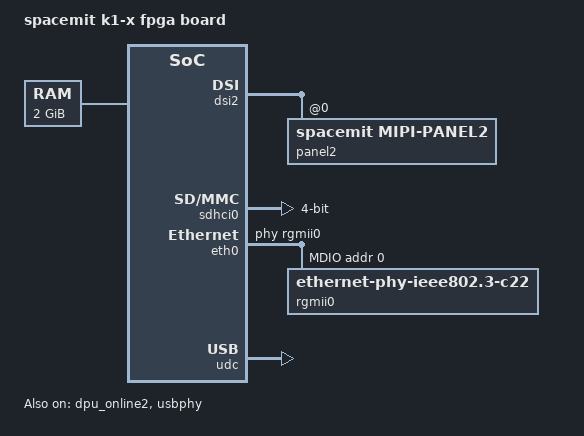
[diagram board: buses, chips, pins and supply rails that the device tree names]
// SPDX-License-Identifier: (GPL-2.0 OR MIT)
/* Copyright (c) 2023 Spacemit, Inc */

/dts-v1/;

#include "k1-x.dtsi"
#include "lcd/lcd_gc9503v_mipi.dtsi"
/ {
	model = "spacemit k1-x fpga board";

	cpus: cpus {
		#address-cells = <1>;
		#size-cells = <0>;
		timebase-frequency = <10000000>;

		cpu_0: cpu@0 {
			cpu-ai = "true";
		};

		cpu_1: cpu@1 {
			cpu-ai = "true";
		};

		cpu_2: cpu@2 {
			reg = <2>;
			cpu-ai = "true";
		};

		cpu_3: cpu@3 {
			reg = <3>;
			cpu-ai = "true";
		};

		cpu-map {
			cluster0 {
				core0 {
					cpu = <&cpu_0>;
				};

				core1 {
					cpu = <&cpu_1>;
				};

				core2 {
					cpu = <&cpu_2>;
				};

				core3 {
					cpu = <&cpu_3>;
				};
			};
		};
	};

	lcds: lcds {
		status = "ok";
	};

	memory@0 {
		device_type = "memory";
		reg = <0x0 0x00000000 0x0 0x80000000>;
	};

	reserved-memory {
		#address-cells = <2>;
		#size-cells = <2>;
		ranges;

		linux,cma@60000000 {
			compatible = "shared-dma-pool";
			/* alloc memory from 0x60000000~0x80000000 */
			alloc-ranges = <0 0x60000000 0 0x20000000>;
			/* size of cma buffer is 256MByte */
			size = <0 0x10000000>;
			/* start address is 1Mbyte aligned */
			alignment = <0x0 0x100000>;
			linux,cma-default;
			/* besides hardware, dma for ex. buffer can be used by memory management */
			reusable;
		};

		/* reserved 384K for dpu, including mmu table(256K) and cmdlist(128K) */
		dpu_resv: dpu_reserved@27000000 {
			compatible = "shared-dma-pool";
			reg = <0x0 0x27000000 0x0 0x00060000>;
			no-map;
		};
	};

	chosen {
		bootargs = "earlycon=sbi console=ttyS0,115200n8 debug loglevel=8,initcall_debug=1 rdinit=/init.tmp";
		stdout-path = "serial0:115200n8";
	};

};

&dpu_online2 {
	memory-region = <&dpu_resv>;
	status = "okay";
};


&dsi2 {
	status = "okay";

	panel2: panel2@0 {
		status = "ok";
		compatible = "spacemit,mipi-panel2";
		reg = <0>;

		gpios-bl = <16>;
		gpios-reset = <17>;
		gpios-dc = <18>;
		id = <2>;
		force-attached = "lcd_gc9503v_mipi";
	};
};

&sdhci0 {
	bus-width = <4>;
	broken-cd;
	cap-sd-highspeed;
	no-mmc;
	no-sdio;
	spacemit,sdh-host-caps-disable = <(
			MMC_CAP_UHS_SDR12 |
			MMC_CAP_UHS_SDR25 |
			MMC_CAP_UHS_SDR50 |
			MMC_CAP_UHS_SDR104 |
			MMC_CAP_UHS_DDR50
			)>;
	spacemit,sdh-quirks = <(
			SDHCI_QUIRK_INVERTED_WRITE_PROTECT |
			SDHCI_QUIRK_BROKEN_TIMEOUT_VAL
			)>;
	spacemit,sdh-quirks2 = <(
			SDHCI_QUIRK2_PRESET_VALUE_BROKEN |
			SDHCI_QUIRK2_BROKEN_PHY_MODULE
			)>;
	spacemit,sdh-freq = <204800000>;
	status = "okay";
};

/* eMMC */
&sdhci2 {
	bus-width = <8>;
	non-removable;
	cap-mmc-highspeed;
	no-sd;
	no-sdio;
	spacemit,sdh-quirks = <(
			SDHCI_QUIRK_BROKEN_CARD_DETECTION |
			SDHCI_QUIRK_BROKEN_TIMEOUT_VAL
			)>;
	spacemit,sdh-quirks2 = <(
			SDHCI_QUIRK2_PRESET_VALUE_BROKEN |
			SDHCI_QUIRK2_BROKEN_HS200 |
			SDHCI_QUIRK2_SUPPORT_PHY_BYPASS
			)>;
	spacemit,sdh-freq = <375000000>;
	status = "disabled";
};

&eth0 {
	//emac,reset-gpio = <&gpio 40 0>;
	emac,reset-active-low;
	emac,reset-delays-us = <0 10000 100000>;

	/* store forward mode */
	tx-threshold = <1518>;
	rx-threshold = <12>;
	tx-ring-num = <128>;
	rx-ring-num = <128>;
	dma-burst-len = <5>;

	ref-clock-from-phy;

	clk-tuning-enable;
	clk-tuning-by-reg;
	tx-phase = <1>;
	rx-phase = <5>;

	phy-handle = <&rgmii0>;

	status = "okay";

	mdio-bus {
		#address-cells = <0x1>;
		#size-cells = <0x0>;

		rgmii0: phy@0 {
			compatible = "ethernet-phy-ieee802.3-c22";
			device_type = "ethernet-phy";
			reg = <0x0>;
			phy-mode = "rgmii";
		};
	};
};

&usbphy {
	status = "okay";
};

&udc {
	/*spacemit,udc-mode = <MV_USB_MODE_OTG>;
	spacemit,extern-attr = <MV_USB_HAS_VBUS_IDPIN_DETECTION>;*/
	spacemit,udc-mode = <MV_USB_MODE_UDC>;
	status = "okay";
};

&usbdrd3 {
	status = "disabled";
	dwc3@c0a00000 {
		maximum-speed = "high-speed";
		dr_mode = "peripheral";
		phy_type = "utmi_wide";
		snps,dis_enblslpm_quirk;
	};
};

&pcie0_rc {
	status = "disabled";
};

&qspi {
	status = "disabled";

	flash@0 {
		compatible = "jedec,spi-nor";
		reg = <0>;
		spi-max-frequency = <26500000>;
		m25p,fast-read;
		broken-flash-reset;
		status = "okay";
	};
};
